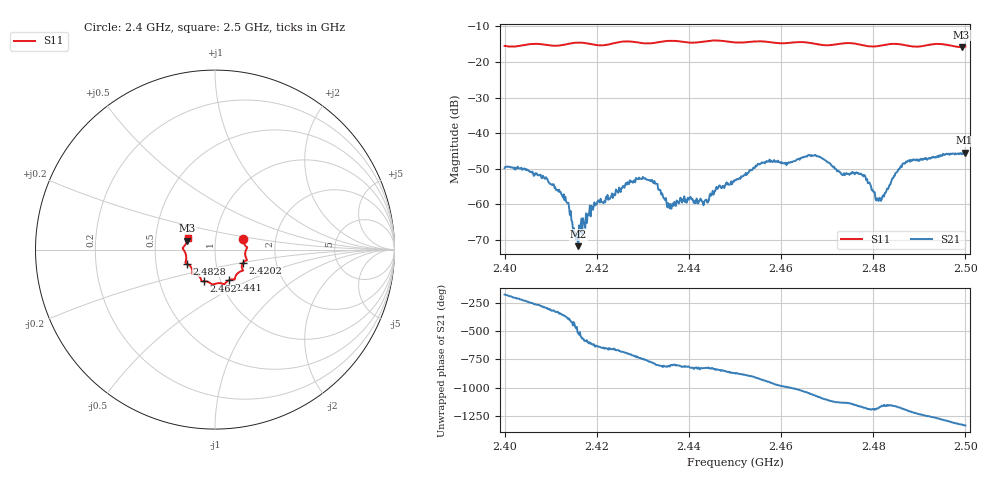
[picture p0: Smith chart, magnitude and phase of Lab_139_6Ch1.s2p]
# Hz S RI R
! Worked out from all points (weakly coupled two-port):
!   601 points, 2.4 GHz to 2.5 GHz, reference 50 ohm
!   highest |S21| = -45.46 dB at 2.4998 GHz (marker M1); lowest = -71.8 dB at 2.416 GHz (marker M2)
!   lowest |S11| = -15.8 dB at 2.4992 GHz (marker M3), VSWR 1.39, Z = 36.4 + j3.76 ohm
!   |S11| at or under -10 dB: start of sweep to end of sweep
!   S12 and S22 are empty: the file has one direction only
!   S11 on the Smith chart (normalised r, x): 2.4 GHz: 1.36, +0.17; 2.4202 GHz: 1.35, -0.20; 2.441 GHz: 1.10, -0.39; 2.462 GHz: 0.83, -0.30; 2.4828 GHz: 0.72, -0.12; 2.5 GHz: 0.73, +0.09
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2.4e9  0.1572 0.0606  -0.00322 -5.1e-05  0 0  0 0
2.408833e9  0.1749 0.0027  0.000946 0.00208  0 0  0 0
2.413333e9  0.1718 -0.0438  0.00107 -0.000286  0 0  0 0
2.416e9  0.1782 -0.0583  -0.000245 -8.17e-05  0 0  0 0
2.416667e9  0.1776 -0.0593  -0.000605 0.000172  0 0  0 0
2.420167e9  0.1568 -0.0723  8.06e-05 0.00109  0 0  0 0
2.429e9  0.1444 -0.1204  0.00219 -0.000522  0 0  0 0
2.433333e9  0.1128 -0.1521  0.000229 -0.0016  0 0  0 0
2.435667e9  0.1104 -0.1653  3.11e-05 -0.000981  0 0  0 0
2.441e9  0.0772 -0.1706  -0.000396 -0.000989  0 0  0 0
2.45e9  0.0272 -0.1868  -0.00192 -0.00101  0 0  0 0
2.4555e9  -0.0128 -0.1951  -0.00334 0.00166  0 0  0 0
2.462e9  -0.0613 -0.1762  0.000649 0.00381  0 0  0 0
2.466667e9  -0.0774 -0.1673  0.0046 0.00173  0 0  0 0
2.477833e9  -0.1266 -0.1161  -0.000219 -0.00246  0 0  0 0
2.481e9  -0.1436 -0.0859  -0.000245 -0.00114  0 0  0 0
2.482833e9  -0.1578 -0.0778  0.000227 -0.00151  0 0  0 0
2.483333e9  -0.1607 -0.0765  0.000467 -0.00163  0 0  0 0
2.487333e9  -0.1611 -0.0563  -0.00193 -0.00342  0 0  0 0
2.499167e9  -0.1549 0.0503  -0.00216 0.00457  0 0  0 0
2.499833e9  -0.1534 0.0597  -0.00154 0.00511  0 0  0 0
2.5e9  -0.1532 0.0618  -0.00148 0.00504  0 0  0 0
